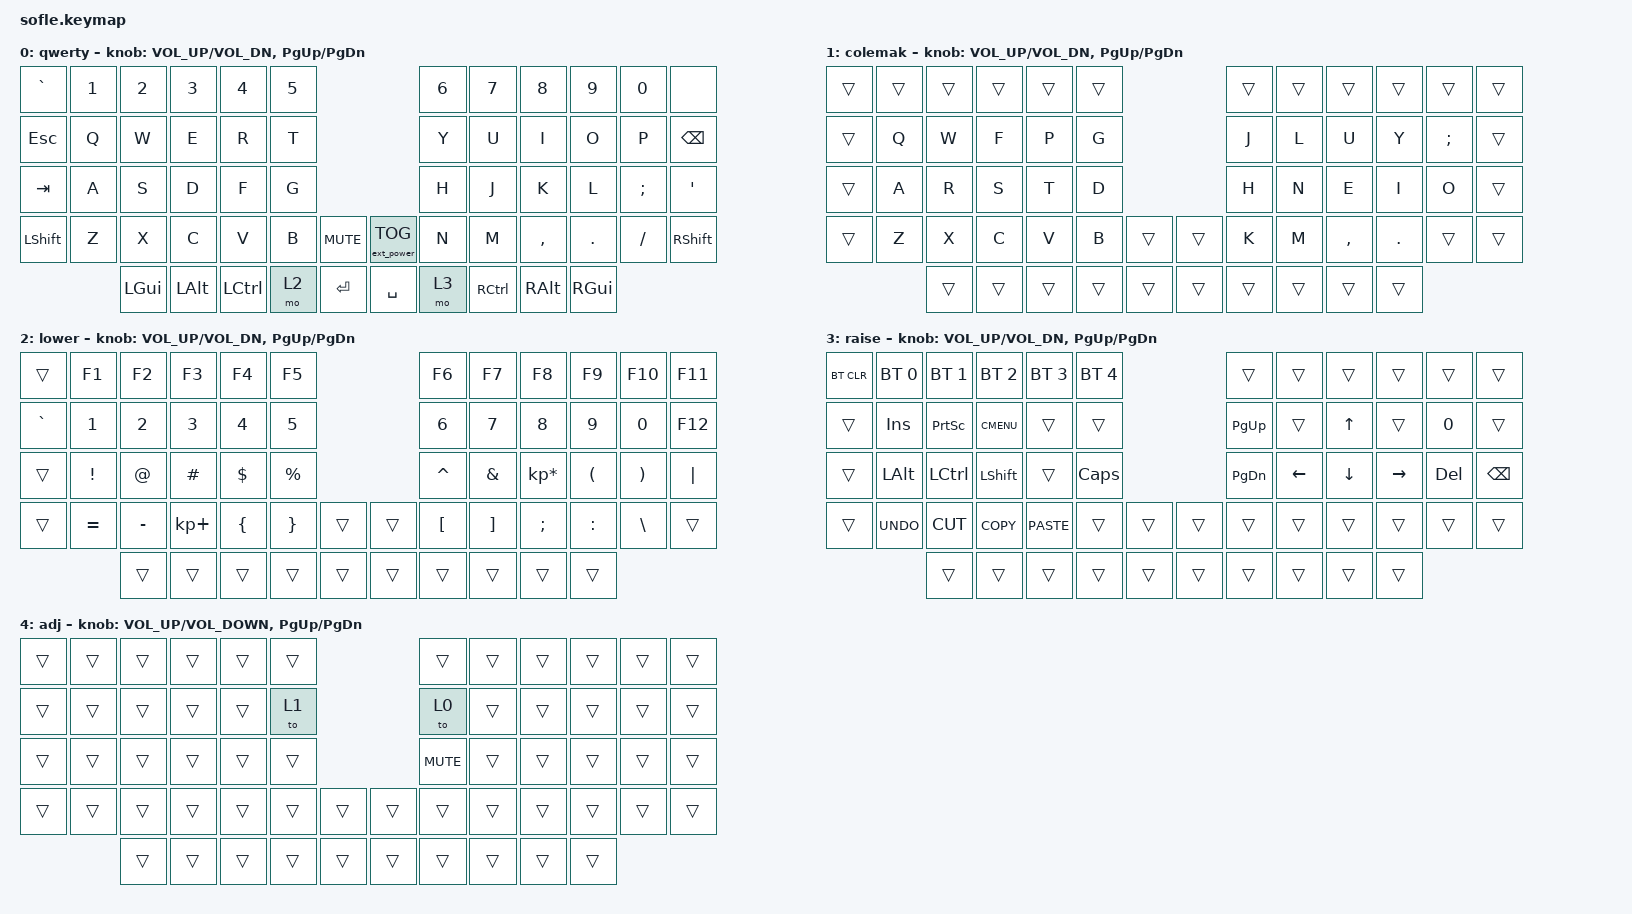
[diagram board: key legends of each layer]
/*
 * Copyright (c) 2020 The ZMK Contributors
 *
 * SPDX-License-Identifier: MIT
 */

#include <behaviors.dtsi>
#include <dt-bindings/zmk/bt.h>
#include <dt-bindings/zmk/ext_power.h>
#include <dt-bindings/zmk/keys.h>

// Encoder resolutions
&left_encoder {
    steps = <20>;
};
&right_encoder {
    steps = <20>;
};

// nice!view display fix
&nice_view_spi {
  cs-gpios = <&pro_micro 0 GPIO_ACTIVE_HIGH>;
};


/ {
    sensors {
        triggers-per-rotation = <8>;
    };
    keymap {
        compatible = "zmk,keymap";

        default_layer {
            // ------------------------------------------------------------------------------------------------------------
            // |  `    |  1  |  2  |  3   |  4   |  5   |                         |  6   |  7    |  8    |  9   |   0   |       |
            // |  ESC  |  Q  |  W  |  E   |  R   |  T   |                         |  Y   |  U    |  I    |  O   |   P   | BKSPC |
            // |  TAB  |  A  |  S  |  D   |  F   |  G   |                         |  H   |  J    |  K    |  L   |   ;   |   '   |
            // | SHIFT |  Z  |  X  |  C   |  V   |  B   |  MUTE  |        | ExtPw |  N   |  M    |  ,    |  .   |   /   | SHIFT |
            //               | GUI | ALT  | CTRL | LOWER|  ENTER |        | SPACE | RAISE| CTRL  | ALT   | GUI  |

            bindings = <
&kp GRAVE  &kp N1  &kp N2    &kp N3    &kp N4     &kp N5                                   &kp N6  &kp N7     &kp N8     &kp N9    &kp N0    &none
&kp ESC    &kp Q   &kp W     &kp E     &kp R      &kp T                                    &kp Y   &kp U      &kp I      &kp O     &kp P     &kp BSPC
&kp TAB    &kp A   &kp S     &kp D     &kp F      &kp G                                    &kp H   &kp J      &kp K      &kp L     &kp SEMI  &kp SQT
&kp LSHFT  &kp Z   &kp X     &kp C     &kp V      &kp B   &kp C_MUTE    &ext_power EP_TOG  &kp N   &kp M      &kp COMMA  &kp DOT   &kp FSLH  &kp RSHFT
                   &kp LGUI  &kp LALT  &kp LCTRL  &mo 2   &kp RET       &kp SPACE          &mo 3   &kp RCTRL  &kp RALT   &kp RGUI
            >;

            sensor-bindings = <&inc_dec_kp C_VOL_UP C_VOL_DN &inc_dec_kp PG_UP PG_DN>;
            label = "qwerty";
        };

        default_layer_colemak {
            bindings = <
&trans  &trans  &trans  &trans  &trans  &trans                    &trans  &trans  &trans     &trans   &trans    &trans
&trans  &kp Q   &kp W   &kp F   &kp P   &kp G                     &kp J   &kp L   &kp U      &kp Y    &kp SEMI  &trans
&trans  &kp A   &kp R   &kp S   &kp T   &kp D                     &kp H   &kp N   &kp E      &kp I    &kp O     &trans
&trans  &kp Z   &kp X   &kp C   &kp V   &kp B   &trans    &trans  &kp K   &kp M   &kp COMMA  &kp DOT  &trans    &trans
                &trans  &trans  &trans  &trans  &trans    &trans  &trans  &trans  &trans     &trans
            >;

            label = "colemak";
            sensor-bindings =
                <&inc_dec_kp C_VOL_UP C_VOL_DN>,
                <&inc_dec_kp PG_UP PG_DN>;
        };

        lower_layer {
            // TODO: Some binds are waiting for shifted keycode support.
            // ------------------------------------------------------------------------------------------------------------
            // |       |  F1 |  F2 |  F3  |  F4  |  F5  |                   |  F6  |  F7   |  F8   |  F9  |  F10  |  F11  |
            // | `     |   1 |   2 |   3  |   4  |   5  |                   |   6  |   7   |   8   |   9  |    0  |  F12  |
            // |       |  !  |  @  |  #   |  $   |  %   |                   |  ^   |  &    |  *    |  (   |   )   |   |   |
            // |       |  =  |  -  |  +   |  {   |  }   |        |  |       |  [   |  ]    |  ;    |  :   |   \   |       |
            //               |     |      |      |      |        |  |       |      |       |       |      |

            bindings = <
&trans     &kp F1     &kp F2     &kp F3       &kp F4    &kp F5                       &kp F6     &kp F7    &kp F8           &kp F9     &kp F10   &kp F11
&kp GRAVE  &kp N1     &kp N2     &kp N3       &kp N4    &kp N5                       &kp N6     &kp N7    &kp N8           &kp N9     &kp N0    &kp F12
&trans     &kp EXCL   &kp AT     &kp HASH     &kp DLLR  &kp PRCNT                    &kp CARET  &kp AMPS  &kp KP_MULTIPLY  &kp LPAR   &kp RPAR  &kp PIPE
&trans     &kp EQUAL  &kp MINUS  &kp KP_PLUS  &kp LBRC  &kp RBRC   &trans    &trans  &kp LBKT   &kp RBKT  &kp SEMI         &kp COLON  &kp BSLH  &trans
                      &trans     &trans       &trans    &trans     &trans    &trans  &trans     &trans    &trans           &trans
            >;

            sensor-bindings = <&inc_dec_kp C_VOL_UP C_VOL_DN &inc_dec_kp PG_UP PG_DN>;
            label = "lower";
        };

        raise_layer {
            // ------------------------------------------------------------------------------------------------------------
            // |BTCLR| BT1  | BT2  |  BT3  |  BT4  |  BT5 |                |      |      |       |      |       |       |
            // |     | INS  | PSCR | GUI   |       |      |                | PGUP |      |   ^   |      |       |       |
            // |     | ALT  | CTRL | SHIFT |       | CAPS |                | PGDN |   <- |   v   |  ->  |  DEL  | BKSPC |
            // |     | UNDO | CUT  | COPY  | PASTE |      |      |  |      |      |      |       |      |       |       |
            //              |      |       |       |      |      |  |      |      |      |       |      |

            bindings = <
&bt BT_CLR  &bt BT_SEL 0  &bt BT_SEL 1  &bt BT_SEL 2  &bt BT_SEL 3  &bt BT_SEL 4                    &trans     &trans    &trans    &trans     &trans   &trans
&trans      &kp INS       &kp PSCRN     &kp K_CMENU   &trans        &trans                          &kp PG_UP  &trans    &kp UP    &trans     &kp N0   &trans
&trans      &kp LALT      &kp LCTRL     &kp LSHFT     &trans        &kp CLCK                        &kp PG_DN  &kp LEFT  &kp DOWN  &kp RIGHT  &kp DEL  &kp BSPC
&trans      &kp K_UNDO    &kp K_CUT     &kp K_COPY    &kp K_PASTE   &trans        &trans    &trans  &trans     &trans    &trans    &trans     &trans   &trans
                          &trans        &trans        &trans        &trans        &trans    &trans  &trans     &trans    &trans    &trans
            >;

            sensor-bindings = <&inc_dec_kp C_VOL_UP C_VOL_DN &inc_dec_kp PG_UP PG_DN>;
            label = "raise";
        };

        adjacent {
            bindings = <
&trans  &trans  &trans  &trans  &trans  &trans                    &trans      &trans  &trans  &trans  &trans  &trans
&trans  &trans  &trans  &trans  &trans  &to 1                     &to 0       &trans  &trans  &trans  &trans  &trans
&trans  &trans  &trans  &trans  &trans  &trans                    &kp C_MUTE  &trans  &trans  &trans  &trans  &trans
&trans  &trans  &trans  &trans  &trans  &trans  &trans    &trans  &trans      &trans  &trans  &trans  &trans  &trans
                &trans  &trans  &trans  &trans  &trans    &trans  &trans      &trans  &trans  &trans
            >;

            label = "adj";
            sensor-bindings =
                <&inc_dec_kp C_VOL_UP K_VOLUME_DOWN>,
                <&inc_dec_kp PG_UP PG_DN>;
        };
    };

    conditional_layers {
        compatible = "zmk,conditional-layers";

        adjacent_layer_condition {
            if-layers = <2 3>;
            then-layer = <4>;
        };
    };
};
